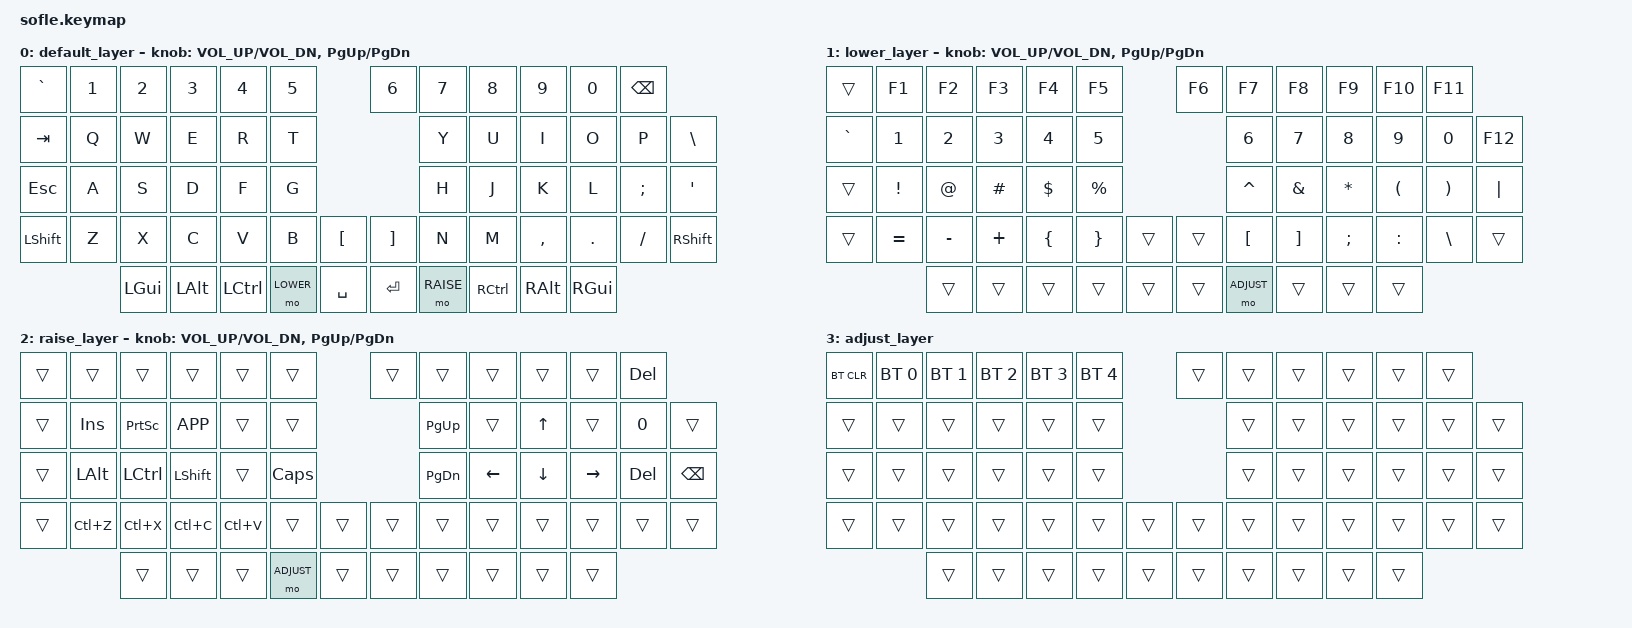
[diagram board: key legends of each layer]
/*
 * Sofle Keyboard - ZMK Default Keymap
 */

#include <behaviors.dtsi>
#include <dt-bindings/zmk/keys.h>
#include <dt-bindings/zmk/bt.h>

#define DEFAULT 0
#define LOWER   1
#define RAISE   2
#define ADJUST  3

/ {
    keymap {
        compatible = "zmk,keymap";

        default_layer {
            bindings = <
&kp GRAVE  &kp N1 &kp N2 &kp N3   &kp N4   &kp N5                       &kp N6 &kp N7   &kp N8    &kp N9  &kp N0   &kp BSPC
&kp TAB    &kp Q  &kp W  &kp E    &kp R    &kp T                        &kp Y  &kp U    &kp I     &kp O   &kp P    &kp BSLH
&kp ESC    &kp A  &kp S  &kp D    &kp F    &kp G                        &kp H  &kp J    &kp K     &kp L   &kp SEMI &kp SQT
&kp LSHFT  &kp Z  &kp X  &kp C    &kp V    &kp B  &kp LBKT   &kp RBKT  &kp N  &kp M    &kp COMMA &kp DOT &kp FSLH &kp RSHFT
                   &kp LGUI &kp LALT &kp LCTRL &mo LOWER &kp SPACE &kp RET &mo RAISE &kp RCTRL &kp RALT &kp RGUI
            >;

            sensor-bindings = <&inc_dec_kp C_VOL_UP C_VOL_DN &inc_dec_kp PG_UP PG_DN>;
        };

        lower_layer {
            bindings = <
&trans     &kp F1   &kp F2   &kp F3   &kp F4   &kp F5                     &kp F6   &kp F7   &kp F8   &kp F9   &kp F10  &kp F11
&kp GRAVE  &kp N1   &kp N2   &kp N3   &kp N4   &kp N5                     &kp N6   &kp N7   &kp N8   &kp N9   &kp N0   &kp F12
&trans     &kp EXCL &kp AT   &kp HASH &kp DLLR &kp PRCNT                  &kp CARET &kp AMPS &kp ASTRK &kp LPAR &kp RPAR &kp PIPE
&trans     &kp EQUAL &kp MINUS &kp PLUS &kp LBRC &kp RBRC &trans   &trans &kp LBKT &kp RBKT &kp SEMI  &kp COLON &kp BSLH &trans
                     &trans   &trans   &trans   &trans   &trans     &trans &mo ADJUST &trans   &trans   &trans
            >;

            sensor-bindings = <&inc_dec_kp C_VOL_UP C_VOL_DN &inc_dec_kp PG_UP PG_DN>;
        };

        raise_layer {
            bindings = <
&trans  &trans   &trans   &trans   &trans   &trans                     &trans   &trans   &trans   &trans   &trans   &kp DEL
&trans  &kp INS  &kp PSCRN &kp K_APP &trans  &trans                   &kp PG_UP &trans  &kp UP   &trans   &kp N0   &trans
&trans  &kp LALT &kp LCTRL &kp LSHFT &trans  &kp CAPS                &kp PG_DN &kp LEFT &kp DOWN &kp RIGHT &kp DEL &kp BSPC
&trans  &kp LC(Z) &kp LC(X) &kp LC(C) &kp LC(V) &trans &trans &trans &trans   &trans   &trans   &trans   &trans   &trans
                  &trans   &trans   &trans   &mo ADJUST &trans  &trans &trans   &trans   &trans   &trans
            >;

            sensor-bindings = <&inc_dec_kp C_VOL_UP C_VOL_DN &inc_dec_kp PG_UP PG_DN>;
        };

        adjust_layer {
            bindings = <
&bt BT_CLR &bt BT_SEL 0 &bt BT_SEL 1 &bt BT_SEL 2 &bt BT_SEL 3 &bt BT_SEL 4               &trans &trans &trans &trans &trans &trans
&trans     &trans       &trans       &trans       &trans       &trans                         &trans &trans &trans &trans &trans &trans
&trans     &trans       &trans       &trans       &trans       &trans                         &trans &trans &trans &trans &trans &trans
&trans     &trans       &trans       &trans       &trans       &trans &trans           &trans &trans &trans &trans &trans &trans &trans
                        &trans       &trans       &trans       &trans &trans           &trans &trans &trans &trans &trans
            >;
        };
    };
};
